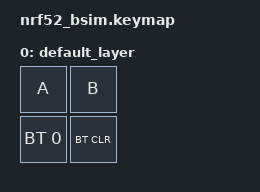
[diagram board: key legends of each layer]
#include <behaviors.dtsi>
#include <dt-bindings/zmk/bt.h>
#include <dt-bindings/zmk/keys.h>
#include <dt-bindings/zmk/kscan_mock.h>

&kscan {
    events = <ZMK_MOCK_PRESS(1,1,1000)
              ZMK_MOCK_RELEASE(1,1,2000)
              ZMK_MOCK_PRESS(0,0,100)
              ZMK_MOCK_RELEASE(0,0,1000)>;
};

/ {
    keymap {
        compatible = "zmk,keymap";

        default_layer {
            bindings = <&kp A &kp B
                        &bt BT_SEL 0 &bt BT_CLR>;
        };
    };
};
